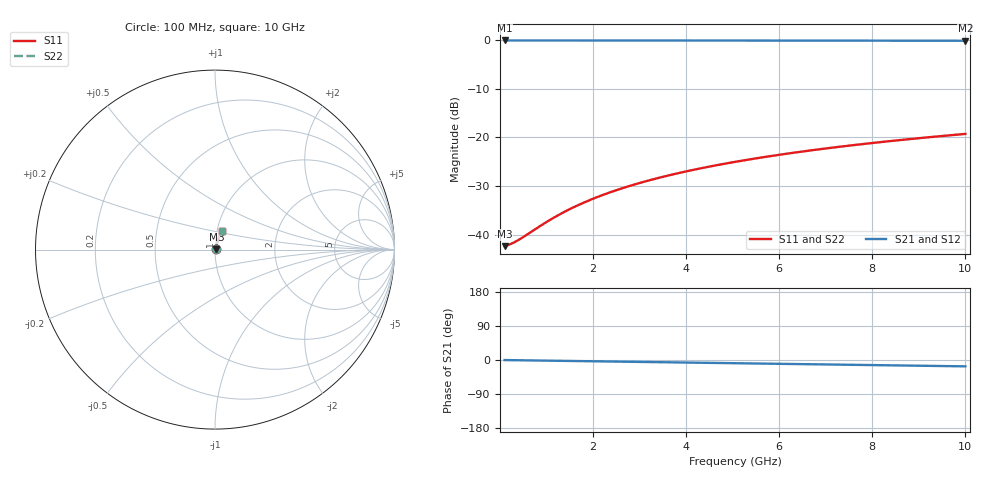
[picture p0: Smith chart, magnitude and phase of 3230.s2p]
# Hz S RI R 50.00
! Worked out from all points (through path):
!   100 points, 100 MHz to 10 GHz, reference 50 ohm
!   highest |S21| = -0.07 dB at 100 MHz (marker M1); lowest = -0.1 dB at 10 GHz (marker M2)
!   group delay of S21, straight-line fit = 4.65 ps
!   lowest |S11| = -42.4 dB at 100 MHz (marker M3), VSWR 1.02, Z = 50.8 + j0.11 ohm
!   |S11| at or under -10 dB: start of sweep to end of sweep
!   |S22| runs from -42.4 to -19.3 dB; largest |S21 - S12| = 0
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1e8  0.00755 0.00108  0.9924 -0.00291  0.9924 -0.00291  0.00755 0.00108
2e8  0.00761 0.00216  0.9924 -0.00582  0.9924 -0.00582  0.00761 0.00216
3e8  0.00766 0.00325  0.9923 -0.00873  0.9923 -0.00873  0.00766 0.00325
4e8  0.00771 0.00433  0.9923 -0.0116  0.9923 -0.0116  0.00771 0.00433
1e9  0.00809 0.0108  0.9917 -0.0291  0.9917 -0.0291  0.00809 0.0108
1.3e9  0.00835 0.014  0.9913 -0.0378  0.9913 -0.0378  0.00835 0.014
1.5e9  0.00856 0.0162  0.991 -0.0436  0.991 -0.0436  0.00856 0.0162
1.8e9  0.0089 0.0194  0.9905 -0.0523  0.9905 -0.0523  0.0089 0.0194
2.1e9  0.0093 0.0226  0.9899 -0.061  0.9899 -0.061  0.0093 0.0226
2.5e9  0.00992 0.0269  0.989 -0.0726  0.989 -0.0726  0.00992 0.0269
2.9e9  0.0106 0.0312  0.9879 -0.0842  0.9879 -0.0842  0.0106 0.0312
3.4e9  0.0117 0.0365  0.9863 -0.0986  0.9863 -0.0986  0.0117 0.0365
3.8e9  0.0126 0.0407  0.9849 -0.1102  0.9849 -0.1102  0.0126 0.0407
4.2e9  0.0136 0.0449  0.9833 -0.1217  0.9833 -0.1217  0.0136 0.0449
4.6e9  0.0148 0.049  0.9816 -0.1331  0.9816 -0.1331  0.0148 0.049
5.1e9  0.0163 0.0542  0.9792 -0.1474  0.9792 -0.1474  0.0163 0.0542
5.9e9  0.0191 0.0623  0.9749 -0.1702  0.9749 -0.1702  0.0191 0.0623
6.7e9  0.0223 0.0703  0.9701 -0.1928  0.9701 -0.1928  0.0223 0.0703
7.5e9  0.0258 0.0782  0.9646 -0.2153  0.9646 -0.2153  0.0258 0.0782
8.4e9  0.0302 0.0868  0.9578 -0.2403  0.9578 -0.2403  0.0302 0.0868
9.2e9  0.0345 0.0942  0.9511 -0.2623  0.9511 -0.2623  0.0345 0.0942
1e10  0.0391 0.1014  0.9439 -0.2841  0.9439 -0.2841  0.0391 0.1014
